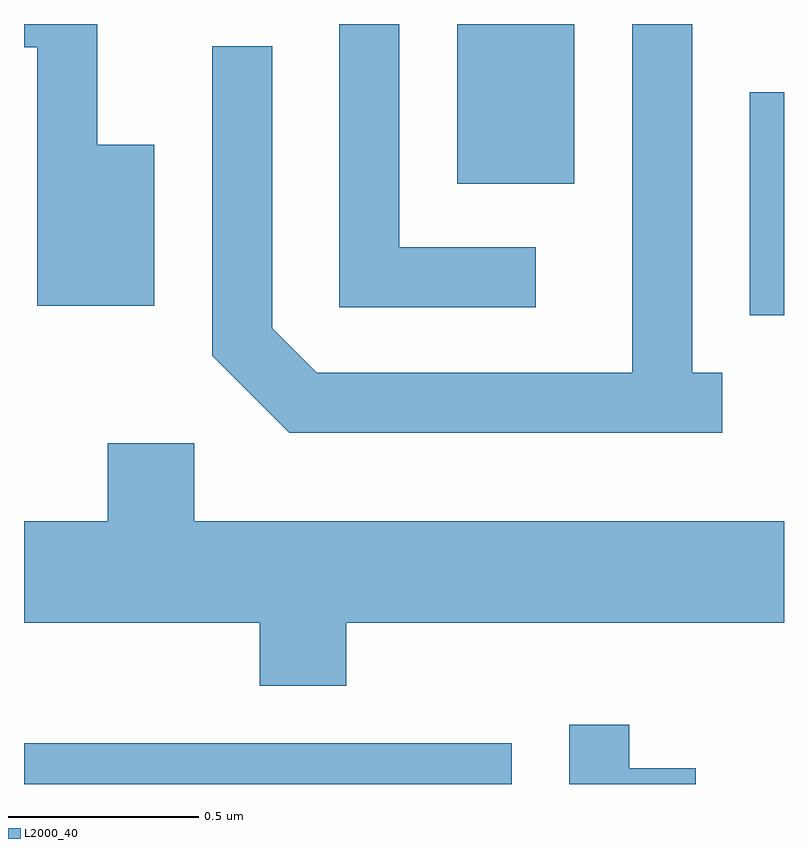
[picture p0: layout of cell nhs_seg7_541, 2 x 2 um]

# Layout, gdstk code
import gdstk
lib = gdstk.Library(unit=1e-6, precision=1e-09)
def R(c, l, rs):  # rectangles x0, y0, x1, y1
    for r in rs: c.add(gdstk.rectangle(r[:2], r[2:], *l))
def P(c, l, *ps):  # polygons
    for p in ps: c.add(gdstk.Polygon(p, *l))
L2000_40 = (2000, 40)

nhs_seg7_541 = lib.new_cell('nhs_seg7_541')
R(nhs_seg7_541, L2000_40, [(188.611,1798.252,189.894,1798.359), (190.521,1799.486,190.611,1800.073), (189.751,1799.831,190.059,1800.252)])
P(nhs_seg7_541, L2000_40, [(190.448,1799.334),(190.369,1799.334),(190.369,1800.252),(190.211,1800.252),(190.211,1799.334),(189.382,1799.334),(189.264,1799.452),(189.264,1800.193),(189.106,1800.193),(189.106,1799.379),(189.309,1799.176),(190.448,1799.176)],
  [(188.954,1799.934),(188.804,1799.934),(188.804,1800.252),(188.611,1800.252),(188.611,1800.191),(188.646,1800.191),(188.646,1799.511),(188.954,1799.511)],
  [(189.958,1799.664),(189.599,1799.664),(189.599,1800.252),(189.441,1800.252),(189.441,1799.506),(189.958,1799.506)],
  [(189.459,1798.676),(190.611,1798.676),(190.611,1798.944),(189.059,1798.944),(189.059,1799.149),(188.831,1799.149),(188.831,1798.944),(188.611,1798.944),(188.611,1798.676),(189.231,1798.676),(189.231,1798.511),(189.459,1798.511)],
  [(190.379,1798.294),(190.204,1798.294),(190.204,1798.408),(190.046,1798.408),(190.046,1798.252),(190.379,1798.252)])

lib.write_gds('nhs_seg7_541.gds')
